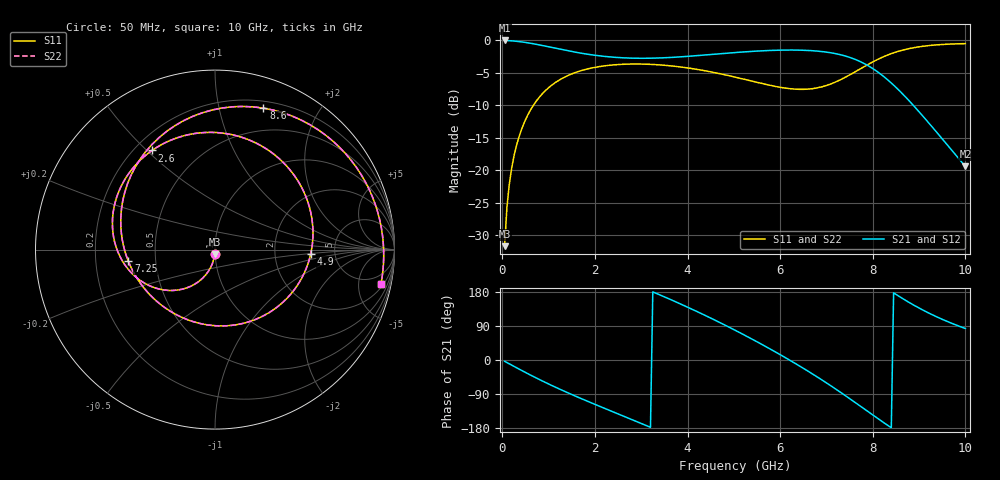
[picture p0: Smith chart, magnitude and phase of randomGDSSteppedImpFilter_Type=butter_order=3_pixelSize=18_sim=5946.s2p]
! freq	dB(S11)	phase(S11)	dB(S12)	phase(S12)
!  dB(S21)	phase(S21)	dB(S22)	phase(S22)
!S-par simulation data
#  GHz  S  DB  R 50
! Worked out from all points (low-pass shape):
!   200 points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, 50 MHz to 10 GHz, reference 50 ohm
!   highest |S21| = -0.01 dB at 50 MHz (marker M1); lowest = -19.4 dB at 10 GHz (marker M2)
!   |S21| within 3 dB of the highest: start of sweep to 7.648 GHz
!   lowest |S11| = -31.7 dB at 50 MHz (marker M3), VSWR 1.05, Z = 49.8 - j2.58 ohm
!   |S11| at or under -10 dB: start of sweep to 672.6 MHz
!   |S22| runs from -31.7 to -0.5 dB; largest |S21 - S12| = 0
!   S11 on the Smith chart (normalised r, x): 50 MHz: 1.00, -0.05; 2.6 GHz: 0.27, +0.52; 4.9 GHz: 3.28, -0.21; 7.25 GHz: 0.35, -0.06; 8.6 GHz: 0.26, +1.36; 10 GHz: 2.52, -8.99
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0.05  -31.73 -93.4  -0.01 -3.4  -0.01 -3.4  -31.73 -93.4
0.1  -25.74 -96.9  -0.02 -6.7  -0.02 -6.7  -25.74 -96.9
0.2  -19.80 -103.7  -0.07 -13.4  -0.07 -13.4  -19.80 -103.7
0.5  -12.25 -123.3  -0.31 -32.8  -0.31 -32.8  -12.25 -123.3
1.05  -7.00 -156.8  -1.06 -66.2  -1.06 -66.2  -7.00 -156.8
1.75  -4.56 165.2  -2.03 -104.2  -2.03 -104.2  -4.56 165.2
2.6  -3.68 122.4  -2.68 -147.1  -2.68 -147.1  -3.68 122.4
3.4  -3.78 81.8  -2.71 172.0  -2.71 172.0  -3.78 81.8
4.1  -4.35 44.1  -2.41 133.8  -2.41 133.8  -4.35 44.1
4.9  -5.45 -2.5  -1.94 86.5  -1.94 86.5  -5.45 -2.6
5.05  -5.70 -11.7  -1.86 77.1  -1.86 77.1  -5.70 -11.8
5.5  -6.47 -40.3  -1.65 48.1  -1.65 48.1  -6.47 -40.5
6  -7.23 -74.2  -1.50 14.2  -1.50 14.2  -7.23 -74.4
6.35  -7.53 -99.5  -1.49 -10.8  -1.49 -10.8  -7.53 -99.7
6.7  -7.44 -126.4  -1.59 -36.9  -1.59 -36.9  -7.44 -126.7
7.25  -6.24 -172.3  -2.12 -80.8  -2.12 -80.8  -6.24 -172.6
7.55  -5.12 161.2  -2.74 -106.1  -2.74 -106.1  -5.12 161.0
7.85  -3.90 134.3  -3.70 -132.1  -3.70 -132.1  -3.89 134.2
8.35  -2.17 91.0  -6.25 -174.7  -6.25 -174.7  -2.17 90.9
8.6  -1.59 71.1  -7.93 165.5  -7.93 165.5  -1.59 71.1
9.3  -0.74 24.2  -13.49 118.5  -13.49 118.5  -0.74 24.2
10  -0.50 -11.8  -19.44 83.1  -19.44 83.1  -0.50 -11.8
